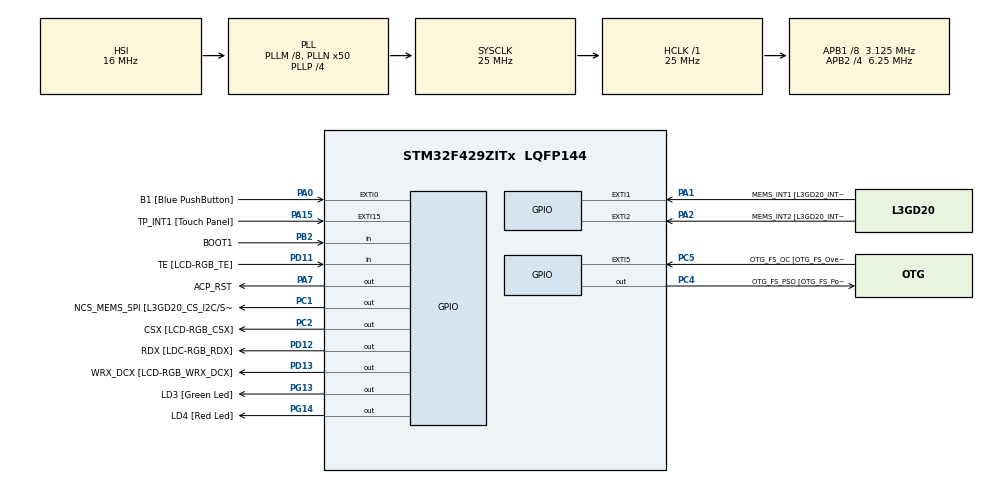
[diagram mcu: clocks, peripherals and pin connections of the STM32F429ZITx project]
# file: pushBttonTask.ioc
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Mcu.Family=STM32F4
Mcu.Name=STM32F429ZITx
Mcu.Package=LQFP144
NVIC.PriorityGroup=NVIC_PRIORITYGROUP_4
NVIC.TIM6_DAC_IRQn=true\:15\:0\:false\:false\:true\:false\:true\:true
NVIC.TimeBase=TIM6_DAC_IRQn
NVIC.TimeBaseIP=TIM6
PA0/WKUP.GPIO_Label=B1 [Blue PushButton]
PA0/WKUP.GPIO_ModeDefaultEXTI=GPIO_MODE_EVT_RISING
PA0/WKUP.GPIO_PuPd=GPIO_NOPULL
PA0/WKUP.Signal=GPXTI0
PA1.GPIO_Label=MEMS_INT1 [L3GD20_INT1]
PA1.GPIO_ModeDefaultEXTI=GPIO_MODE_EVT_RISING
PA1.GPIO_PuPd=GPIO_NOPULL
PA1.Signal=GPXTI1
PA10.GPIO_Label=STLINK_TX [STM32F103CBT6_PA2]
PA10.Signal=USART1_RX
PA11.GPIO_Label=R4
PA11.GPIO_Mode=GPIO_MODE_AF_PP
PA11.GPIO_PuPd=GPIO_NOPULL
PA11.GPIO_Speed=GPIO_SPEED_FREQ_LOW
PA11.Signal=LTDC_R4
PA12.GPIO_Label=R5
PA12.GPIO_Mode=GPIO_MODE_AF_PP
PA12.GPIO_PuPd=GPIO_NOPULL
PA12.GPIO_Speed=GPIO_SPEED_FREQ_LOW
PA12.Signal=LTDC_R5
PA13.GPIO_Label=SWDIO
PA13.Signal=SYS_JTMS-SWDIO
PA14.GPIO_Label=SWCLK
PA14.Signal=SYS_JTCK-SWCLK
PA15.GPIO_Label=TP_INT1 [Touch Panel]
PA15.GPIO_ModeDefaultEXTI=GPIO_MODE_EVT_RISING
PA15.GPIO_PuPd=GPIO_NOPULL
PA15.Signal=GPXTI15
PA2.GPIO_Label=MEMS_INT2 [L3GD20_INT2]
PA2.GPIO_ModeDefaultEXTI=GPIO_MODE_EVT_RISING
PA2.GPIO_PuPd=GPIO_NOPULL
PA2.Signal=GPXTI2
PA3.GPIO_Label=B5
PA3.GPIO_Mode=GPIO_MODE_AF_PP
PA3.GPIO_PuPd=GPIO_NOPULL
PA3.GPIO_Speed=GPIO_SPEED_FREQ_LOW
PA3.Signal=LTDC_B5
PA4.GPIO_Label=VSYNC
PA4.GPIO_Mode=GPIO_MODE_AF_PP
PA4.GPIO_PuPd=GPIO_NOPULL
PA4.GPIO_Speed=GPIO_SPEED_FREQ_LOW
PA4.Signal=LTDC_VSYNC
PA6.GPIO_Label=G2
PA6.GPIO_Mode=GPIO_MODE_AF_PP
PA6.GPIO_PuPd=GPIO_NOPULL
PA6.GPIO_Speed=GPIO_SPEED_FREQ_LOW
PA6.Signal=LTDC_G2
PA7.GPIO_Label=ACP_RST
PA7.GPIO_Mode=GPIO_MODE_OUTPUT_PP
PA7.GPIO_PuPd=GPIO_NOPULL
PA7.GPIO_Speed=GPIO_SPEED_FREQ_LOW
PA7.Signal=GPIO_Output
PA8.GPIO_Label=I2C3_SCL [ACP/RF_SCL]
PA8.GPIO_Mode=GPIO_MODE_AF_OD
PA8.GPIO_PuPd=GPIO_NOPULL
PA8.GPIO_Speed=GPIO_SPEED_FREQ_LOW
PA8.Signal=I2C3_SCL
PA9.GPIO_Label=STLINK_RX [STM32F103CBT6_PA3]
PA9.Signal=USART1_TX
PB0.GPIO_Label=R3
PB0.GPIO_Mode=GPIO_MODE_AF_PP
PB0.GPIO_PuPd=GPIO_NOPULL
PB0.GPIO_Speed=GPIO_SPEED_FREQ_LOW
PB0.Signal=LTDC_R3
PB1.GPIO_Label=R6
PB1.GPIO_Mode=GPIO_MODE_AF_PP
PB1.GPIO_PuPd=GPIO_NOPULL
PB1.GPIO_Speed=GPIO_SPEED_FREQ_LOW
PB1.Signal=LTDC_R6
PB10.GPIO_Label=G4
PB10.GPIO_Mode=GPIO_MODE_AF_PP
PB10.GPIO_PuPd=GPIO_NOPULL
PB10.GPIO_Speed=GPIO_SPEED_FREQ_LOW
PB10.Signal=LTDC_G4
PB11.GPIO_Label=G5
PB11.GPIO_Mode=GPIO_MODE_AF_PP
PB11.GPIO_PuPd=GPIO_NOPULL
PB11.GPIO_Speed=GPIO_SPEED_FREQ_LOW
PB11.Signal=LTDC_G5
PB12.GPIO_Label=OTG_HS_ID
PB12.GPIO_Mode=GPIO_MODE_AF_PP
PB12.GPIO_PuPd=GPIO_NOPULL
PB12.GPIO_Speed=GPIO_SPEED_FREQ_LOW
PB12.Signal=USB_OTG_HS_ID
PB13.GPIO_Label=VBUS_HS
PB13.GPIO_Mode=GPIO_MODE_INPUT
PB13.GPIO_PuPd=GPIO_NOPULL
PB13.Signal=USB_OTG_HS_VBUS
PB14.GPIO_Label=OTG_HS_DM
PB14.GPIO_Mode=GPIO_MODE_AF_PP
PB14.GPIO_PuPd=GPIO_NOPULL
PB14.GPIO_Speed=GPIO_SPEED_FREQ_LOW
PB14.Signal=USB_OTG_HS_DM
PB15.GPIO_Label=OTG_HS_DP
PB15.GPIO_Mode=GPIO_MODE_AF_PP
PB15.GPIO_PuPd=GPIO_NOPULL
PB15.GPIO_Speed=GPIO_SPEED_FREQ_LOW
PB15.Signal=USB_OTG_HS_DP
PB2/BOOT1.GPIO_Label=BOOT1
PB2/BOOT1.GPIO_Mode=GPIO_MODE_INPUT
PB2/BOOT1.GPIO_PuPd=GPIO_NOPULL
PB2/BOOT1.Signal=GPIO_Input
PB5.GPIO_Label=SDCKE1
PB5.GPIO_Mode=GPIO_MODE_AF_PP
PB5.GPIO_PuPd=GPIO_NOPULL
PB5.GPIO_Speed=GPIO_SPEED_FREQ_VERY_HIGH
PB5.Signal=FMC_SDCKE1
PB6.GPIO_Label=SDNE1 [SDRAM_CS]
PB6.GPIO_Mode=GPIO_MODE_AF_PP
PB6.GPIO_PuPd=GPIO_NOPULL
PB6.GPIO_Speed=GPIO_SPEED_FREQ_VERY_HIGH
PB6.Signal=FMC_SDNE1
PB8.GPIO_Label=B6
PB8.GPIO_Mode=GPIO_MODE_AF_PP
PB8.GPIO_PuPd=GPIO_NOPULL
PB8.GPIO_Speed=GPIO_SPEED_FREQ_LOW
PB8.Signal=LTDC_B6
PB9.GPIO_Label=B7
PB9.GPIO_Mode=GPIO_MODE_AF_PP
PB9.GPIO_PuPd=GPIO_NOPULL
PB9.GPIO_Speed=GPIO_SPEED_FREQ_LOW
PB9.Signal=LTDC_B7
PC0.GPIO_Label=SDNWE
PC0.GPIO_Mode=GPIO_MODE_AF_PP
PC0.GPIO_PuPd=GPIO_NOPULL
PC0.GPIO_Speed=GPIO_SPEED_FREQ_VERY_HIGH
PC0.Signal=FMC_SDNWE
PC1.GPIO_Label=NCS_MEMS_SPI [L3GD20_CS_I2C/SPI]
PC1.GPIO_Mode=GPIO_MODE_OUTPUT_PP
PC1.GPIO_PuPd=GPIO_NOPULL
PC1.GPIO_Speed=GPIO_SPEED_FREQ_LOW
PC1.Signal=GPIO_Output
PC10.GPIO_Label=R2
PC10.GPIO_Mode=GPIO_MODE_AF_PP
PC10.GPIO_PuPd=GPIO_NOPULL
PC10.GPIO_Speed=GPIO_SPEED_FREQ_LOW
PC10.Signal=LTDC_R2
PC14/OSC32_IN.GPIO_Label=PC14-OSC32_IN
PC14/OSC32_IN.Signal=RCC_OSC32_IN
PC15/OSC32_OUT.GPIO_Label=PC15-OSC32_OUT
PC15/OSC32_OUT.Signal=RCC_OSC32_OUT
PC2.GPIO_Label=CSX [LCD-RGB_CSX]
PC2.GPIO_Mode=GPIO_MODE_OUTPUT_PP
PC2.GPIO_PuPd=GPIO_NOPULL
PC2.GPIO_Speed=GPIO_SPEED_FREQ_LOW
PC2.Signal=GPIO_Output
PC4.GPIO_Label=OTG_FS_PSO [OTG_FS_PowerSwitchOn]
PC4.GPIO_Mode=GPIO_MODE_OUTPUT_PP
PC4.GPIO_PuPd=GPIO_NOPULL
PC4.GPIO_Speed=GPIO_SPEED_FREQ_LOW
PC4.Signal=GPIO_Output
PC5.GPIO_Label=OTG_FS_OC [OTG_FS_OverCurrent]
PC5.GPIO_ModeDefaultEXTI=GPIO_MODE_EVT_RISING
PC5.Signal=GPXTI5
PC6.GPIO_Label=HSYNC
PC6.GPIO_Mode=GPIO_MODE_AF_PP
PC6.GPIO_PuPd=GPIO_NOPULL
PC6.GPIO_Speed=GPIO_SPEED_FREQ_LOW
PC6.Signal=LTDC_HSYNC
PC7.GPIO_Label=G6
PC7.GPIO_Mode=GPIO_MODE_AF_PP
PC7.GPIO_PuPd=GPIO_NOPULL
PC7.GPIO_Speed=GPIO_SPEED_FREQ_LOW
PC7.Signal=LTDC_G6
PC9.GPIO_Label=I2C3_SDA [ACP/RF_SDA]
PC9.GPIO_Mode=GPIO_MODE_AF_OD
PC9.GPIO_PuPd=GPIO_NOPULL
PC9.GPIO_Speed=GPIO_SPEED_FREQ_LOW
PC9.Signal=I2C3_SDA
PD0.GPIO_Label=D2
PD0.GPIO_Mode=GPIO_MODE_AF_PP
PD0.GPIO_PuPd=GPIO_NOPULL
PD0.GPIO_Speed=GPIO_SPEED_FREQ_VERY_HIGH
PD0.Signal=FMC_D2_DA2
PD1.GPIO_Label=D3
PD1.GPIO_Mode=GPIO_MODE_AF_PP
PD1.GPIO_PuPd=GPIO_NOPULL
PD1.GPIO_Speed=GPIO_SPEED_FREQ_VERY_HIGH
PD1.Signal=FMC_D3_DA3
PD10.GPIO_Label=D15
PD10.GPIO_Mode=GPIO_MODE_AF_PP
PD10.GPIO_PuPd=GPIO_NOPULL
PD10.GPIO_Speed=GPIO_SPEED_FREQ_VERY_HIGH
PD10.Signal=FMC_D15_DA15
PD11.GPIO_Label=TE [LCD-RGB_TE]
PD11.GPIO_Mode=GPIO_MODE_INPUT
PD11.GPIO_PuPd=GPIO_NOPULL
PD11.Signal=GPIO_Input
PD12.GPIO_Label=RDX [LDC-RGB_RDX]
PD12.GPIO_Mode=GPIO_MODE_OUTPUT_PP
PD12.GPIO_PuPd=GPIO_NOPULL
PD12.GPIO_Speed=GPIO_SPEED_FREQ_LOW
PD12.Signal=GPIO_Output
PD13.GPIO_Label=WRX_DCX [LCD-RGB_WRX_DCX]
PD13.GPIO_Mode=GPIO_MODE_OUTPUT_PP
PD13.GPIO_PuPd=GPIO_NOPULL
PD13.GPIO_Speed=GPIO_SPEED_FREQ_LOW
PD13.Signal=GPIO_Output
PD14.GPIO_Label=D0
PD14.GPIO_Mode=GPIO_MODE_AF_PP
PD14.GPIO_PuPd=GPIO_NOPULL
PD14.GPIO_Speed=GPIO_SPEED_FREQ_VERY_HIGH
PD14.Signal=FMC_D0_DA0
PD15.GPIO_Label=D1
PD15.GPIO_Mode=GPIO_MODE_AF_PP
PD15.GPIO_PuPd=GPIO_NOPULL
PD15.GPIO_Speed=GPIO_SPEED_FREQ_VERY_HIGH
PD15.Signal=FMC_D1_DA1
PD3.GPIO_Label=G7
PD3.GPIO_Mode=GPIO_MODE_AF_PP
PD3.GPIO_PuPd=GPIO_NOPULL
PD3.GPIO_Speed=GPIO_SPEED_FREQ_LOW
PD3.Signal=LTDC_G7
PD6.GPIO_Label=B2
PD6.GPIO_Mode=GPIO_MODE_AF_PP
PD6.GPIO_PuPd=GPIO_NOPULL
PD6.GPIO_Speed=GPIO_SPEED_FREQ_LOW
PD6.Signal=LTDC_B2
PD8.GPIO_Label=D13
PD8.GPIO_Mode=GPIO_MODE_AF_PP
PD8.GPIO_PuPd=GPIO_NOPULL
PD8.GPIO_Speed=GPIO_SPEED_FREQ_VERY_HIGH
PD8.Signal=FMC_D13_DA13
PD9.GPIO_Label=D14
PD9.GPIO_Mode=GPIO_MODE_AF_PP
PD9.GPIO_PuPd=GPIO_NOPULL
PD9.GPIO_Speed=GPIO_SPEED_FREQ_VERY_HIGH
PD9.Signal=FMC_D14_DA14
PE0.GPIO_Label=NBL0 [SDRAM_LDQM]
PE0.GPIO_Mode=GPIO_MODE_AF_PP
PE0.GPIO_PuPd=GPIO_NOPULL
PE0.GPIO_Speed=GPIO_SPEED_FREQ_VERY_HIGH
PE0.Signal=FMC_NBL0
PE1.GPIO_Label=NBL1 [SDRAM_UDQM]
PE1.GPIO_Mode=GPIO_MODE_AF_PP
PE1.GPIO_PuPd=GPIO_NOPULL
PE1.GPIO_Speed=GPIO_SPEED_FREQ_VERY_HIGH
PE1.Signal=FMC_NBL1
PE10.GPIO_Label=D7
PE10.GPIO_Mode=GPIO_MODE_AF_PP
PE10.GPIO_PuPd=GPIO_NOPULL
PE10.GPIO_Speed=GPIO_SPEED_FREQ_VERY_HIGH
PE10.Signal=FMC_D7_DA7
PE11.GPIO_Label=D8
PE11.GPIO_Mode=GPIO_MODE_AF_PP
PE11.GPIO_PuPd=GPIO_NOPULL
PE11.GPIO_Speed=GPIO_SPEED_FREQ_VERY_HIGH
PE11.Signal=FMC_D8_DA8
PE12.GPIO_Label=D9
PE12.GPIO_Mode=GPIO_MODE_AF_PP
PE12.GPIO_PuPd=GPIO_NOPULL
PE12.GPIO_Speed=GPIO_SPEED_FREQ_VERY_HIGH
PE12.Signal=FMC_D9_DA9
PE13.GPIO_Label=D10
PE13.GPIO_Mode=GPIO_MODE_AF_PP
PE13.GPIO_PuPd=GPIO_NOPULL
PE13.GPIO_Speed=GPIO_SPEED_FREQ_VERY_HIGH
PE13.Signal=FMC_D10_DA10
PE14.GPIO_Label=D11
PE14.GPIO_Mode=GPIO_MODE_AF_PP
PE14.GPIO_PuPd=GPIO_NOPULL
PE14.GPIO_Speed=GPIO_SPEED_FREQ_VERY_HIGH
PE14.Signal=FMC_D11_DA11
PE15.GPIO_Label=D12
PE15.GPIO_Mode=GPIO_MODE_AF_PP
PE15.GPIO_PuPd=GPIO_NOPULL
PE15.GPIO_Speed=GPIO_SPEED_FREQ_VERY_HIGH
PE15.Signal=FMC_D12_DA12
PE7.GPIO_Label=D4
PE7.GPIO_Mode=GPIO_MODE_AF_PP
PE7.GPIO_PuPd=GPIO_NOPULL
PE7.GPIO_Speed=GPIO_SPEED_FREQ_VERY_HIGH
PE7.Signal=FMC_D4_DA4
PE8.GPIO_Label=D5
PE8.GPIO_Mode=GPIO_MODE_AF_PP
PE8.GPIO_PuPd=GPIO_NOPULL
PE8.GPIO_Speed=GPIO_SPEED_FREQ_VERY_HIGH
PE8.Signal=FMC_D5_DA5
PE9.GPIO_Label=D6
PE9.GPIO_Mode=GPIO_MODE_AF_PP
PE9.GPIO_PuPd=GPIO_NOPULL
PE9.GPIO_Speed=GPIO_SPEED_FREQ_VERY_HIGH
PE9.Signal=FMC_D6_DA6
PF0.GPIO_Label=A0
PF0.GPIO_Mode=GPIO_MODE_AF_PP
PF0.GPIO_PuPd=GPIO_NOPULL
PF0.GPIO_Speed=GPIO_SPEED_FREQ_VERY_HIGH
PF0.Signal=FMC_A0
PF1.GPIO_Label=A1
PF1.GPIO_Mode=GPIO_MODE_AF_PP
PF1.GPIO_PuPd=GPIO_NOPULL
PF1.GPIO_Speed=GPIO_SPEED_FREQ_VERY_HIGH
PF1.Signal=FMC_A1
PF10.GPIO_Label=ENABLE [LCD-RGB_ENABLE]
PF10.GPIO_Mode=GPIO_MODE_AF_PP
PF10.GPIO_PuPd=GPIO_NOPULL
PF10.GPIO_Speed=GPIO_SPEED_FREQ_LOW
PF10.Signal=LTDC_DE
PF11.GPIO_Label=SDNRAS
PF11.GPIO_Mode=GPIO_MODE_AF_PP
PF11.GPIO_PuPd=GPIO_NOPULL
PF11.GPIO_Speed=GPIO_SPEED_FREQ_VERY_HIGH
PF11.Signal=FMC_SDNRAS
PF12.GPIO_Label=A6
PF12.GPIO_Mode=GPIO_MODE_AF_PP
PF12.GPIO_PuPd=GPIO_NOPULL
PF12.GPIO_Speed=GPIO_SPEED_FREQ_VERY_HIGH
PF12.Signal=FMC_A6
PF13.GPIO_Label=A7
PF13.GPIO_Mode=GPIO_MODE_AF_PP
PF13.GPIO_PuPd=GPIO_NOPULL
PF13.GPIO_Speed=GPIO_SPEED_FREQ_VERY_HIGH
PF13.Signal=FMC_A7
PF14.GPIO_Label=A8
PF14.GPIO_Mode=GPIO_MODE_AF_PP
PF14.GPIO_PuPd=GPIO_NOPULL
PF14.GPIO_Speed=GPIO_SPEED_FREQ_VERY_HIGH
PF14.Signal=FMC_A8
PF15.GPIO_Label=A9
PF15.GPIO_Mode=GPIO_MODE_AF_PP
PF15.GPIO_PuPd=GPIO_NOPULL
PF15.GPIO_Speed=GPIO_SPEED_FREQ_VERY_HIGH
PF15.Signal=FMC_A9
PF2.GPIO_Label=A2
PF2.GPIO_Mode=GPIO_MODE_AF_PP
PF2.GPIO_PuPd=GPIO_NOPULL
PF2.GPIO_Speed=GPIO_SPEED_FREQ_VERY_HIGH
PF2.Signal=FMC_A2
PF3.GPIO_Label=A3
PF3.GPIO_Mode=GPIO_MODE_AF_PP
PF3.GPIO_PuPd=GPIO_NOPULL
PF3.GPIO_Speed=GPIO_SPEED_FREQ_VERY_HIGH
PF3.Signal=FMC_A3
PF4.GPIO_Label=A4
PF4.GPIO_Mode=GPIO_MODE_AF_PP
PF4.GPIO_PuPd=GPIO_NOPULL
PF4.GPIO_Speed=GPIO_SPEED_FREQ_VERY_HIGH
PF4.Signal=FMC_A4
PF5.GPIO_Label=A5
PF5.GPIO_Mode=GPIO_MODE_AF_PP
PF5.GPIO_PuPd=GPIO_NOPULL
PF5.GPIO_Speed=GPIO_SPEED_FREQ_VERY_HIGH
PF5.Signal=FMC_A5
PF7.GPIO_Label=SPI5_SCK [L3GD20_SCL/SPC]
PF7.GPIO_Mode=GPIO_MODE_AF_PP
PF7.GPIO_PuPd=GPIO_NOPULL
PF7.GPIO_Speed=GPIO_SPEED_FREQ_LOW
PF7.Signal=SPI5_SCK
PF8.GPIO_Label=SPI5_MISO [L3GD20_SDO]
PF8.GPIO_Mode=GPIO_MODE_AF_PP
PF8.GPIO_PuPd=GPIO_NOPULL
PF8.GPIO_Speed=GPIO_SPEED_FREQ_LOW
PF8.Signal=SPI5_MISO
PF9.GPIO_Label=SPI5_MOSI [L3GD20_SDA/SDI/SDO]
PF9.GPIO_Mode=GPIO_MODE_AF_PP
PF9.GPIO_PuPd=GPIO_NOPULL
PF9.GPIO_Speed=GPIO_SPEED_FREQ_LOW
PF9.Signal=SPI5_MOSI
PG0.GPIO_Label=A10
PG0.GPIO_Mode=GPIO_MODE_AF_PP
PG0.GPIO_PuPd=GPIO_NOPULL
PG0.GPIO_Speed=GPIO_SPEED_FREQ_VERY_HIGH
PG0.Signal=FMC_A10
PG1.GPIO_Label=A11
PG1.GPIO_Mode=GPIO_MODE_AF_PP
PG1.GPIO_PuPd=GPIO_NOPULL
PG1.GPIO_Speed=GPIO_SPEED_FREQ_VERY_HIGH
PG1.Signal=FMC_A11
PG10.GPIO_Label=G3
PG10.GPIO_Mode=GPIO_MODE_AF_PP
PG10.GPIO_PuPd=GPIO_NOPULL
PG10.GPIO_Speed=GPIO_SPEED_FREQ_LOW
PG10.Signal=LTDC_G3
PG11.GPIO_Label=B3
PG11.GPIO_Mode=GPIO_MODE_AF_PP
PG11.GPIO_PuPd=GPIO_NOPULL
PG11.GPIO_Speed=GPIO_SPEED_FREQ_LOW
PG11.Signal=LTDC_B3
PG12.GPIO_Label=B4
PG12.GPIO_Mode=GPIO_MODE_AF_PP
PG12.GPIO_PuPd=GPIO_NOPULL
PG12.GPIO_Speed=GPIO_SPEED_FREQ_LOW
PG12.Signal=LTDC_B4
PG13.GPIO_Label=LD3 [Green Led]
PG13.GPIO_Mode=GPIO_MODE_OUTPUT_PP
PG13.GPIO_PuPd=GPIO_NOPULL
PG13.GPIO_Speed=GPIO_SPEED_FREQ_LOW
PG13.Signal=GPIO_Output
PG14.GPIO_Label=LD4 [Red Led]
PG14.GPIO_Mode=GPIO_MODE_OUTPUT_PP
PG14.GPIO_PuPd=GPIO_NOPULL
PG14.GPIO_Speed=GPIO_SPEED_FREQ_LOW
PG14.Signal=GPIO_Output
PG15.GPIO_Label=SDNCAS
PG15.GPIO_Mode=GPIO_MODE_AF_PP
PG15.GPIO_PuPd=GPIO_NOPULL
PG15.GPIO_Speed=GPIO_SPEED_FREQ_VERY_HIGH
PG15.Signal=FMC_SDNCAS
PG4.GPIO_Label=BA0
PG4.GPIO_Mode=GPIO_MODE_AF_PP
PG4.GPIO_PuPd=GPIO_NOPULL
PG4.GPIO_Speed=GPIO_SPEED_FREQ_VERY_HIGH
PG4.Signal=FMC_A14_BA0
PG5.GPIO_Label=BA1
PG5.GPIO_Mode=GPIO_MODE_AF_PP
PG5.GPIO_PuPd=GPIO_NOPULL
PG5.GPIO_Speed=GPIO_SPEED_FREQ_VERY_HIGH
PG5.Signal=FMC_A15_BA1
PG6.GPIO_Label=R7
PG6.GPIO_Mode=GPIO_MODE_AF_PP
PG6.GPIO_PuPd=GPIO_NOPULL
PG6.GPIO_Speed=GPIO_SPEED_FREQ_LOW
PG6.Signal=LTDC_R7
PG7.GPIO_Label=DOTCLK [LCT-RGB_DOTCLK]
PG7.GPIO_Mode=GPIO_MODE_AF_PP
PG7.GPIO_PuPd=GPIO_NOPULL
PG7.GPIO_Speed=GPIO_SPEED_FREQ_LOW
PG7.Signal=LTDC_CLK
PG8.GPIO_Label=SDCLK
PG8.GPIO_Mode=GPIO_MODE_AF_PP
PG8.GPIO_PuPd=GPIO_NOPULL
PG8.GPIO_Speed=GPIO_SPEED_FREQ_VERY_HIGH
PG8.Signal=FMC_SDCLK
PH0/OSC_IN.GPIO_Label=PH0-OSC_IN
PH0/OSC_IN.Signal=RCC_OSC_IN
PH1/OSC_OUT.GPIO_Label=PH1-OSC_OUT
PH1/OSC_OUT.Signal=RCC_OSC_OUT
ProjectManager.HeapSize=0x200
ProjectManager.StackSize=0x400
ProjectManager.TargetToolchain=STM32CubeIDE
RCC.48MHZClocksFreq_Value=14285714.285714285
RCC.AHBFreq_Value=25000000
RCC.APB1CLKDivider=RCC_HCLK_DIV8
RCC.APB1Freq_Value=3125000
RCC.APB1TimFreq_Value=6250000
RCC.APB2CLKDivider=RCC_HCLK_DIV4
RCC.APB2Freq_Value=6250000
RCC.APB2TimFreq_Value=12500000
RCC.CortexFreq_Value=25000000
RCC.HCLKFreq_Value=25000000
RCC.HSE_VALUE=8000000
RCC.HSI_VALUE=16000000
RCC.LSE_VALUE=32768
RCC.PLLM=8
RCC.PLLN=50
RCC.PLLP=RCC_PLLP_DIV4
RCC.PLLQ=7
RCC.SYSCLKFreq_VALUE=25000000
RCC.SYSCLKSource=RCC_SYSCLKSOURCE_PLLCLK
RCC.VCOOutputFreq_Value=100000000
SH.FMC_A0.0=FMC_A0
SH.FMC_A1.0=FMC_A1
SH.FMC_A10.0=FMC_A10
SH.FMC_A11.0=FMC_A11
SH.FMC_A14_BA0.0=FMC_BA0
SH.FMC_A15_BA1.0=FMC_BA1
SH.FMC_A2.0=FMC_A2
SH.FMC_A3.0=FMC_A3
SH.FMC_A4.0=FMC_A4
SH.FMC_A5.0=FMC_A5
SH.FMC_A6.0=FMC_A6
SH.FMC_A7.0=FMC_A7
SH.FMC_A8.0=FMC_A8
SH.FMC_A9.0=FMC_A9
SH.FMC_D0_DA0.0=FMC_D0
SH.FMC_D10_DA10.0=FMC_D10
SH.FMC_D11_DA11.0=FMC_D11
SH.FMC_D12_DA12.0=FMC_D12
SH.FMC_D13_DA13.0=FMC_D13
SH.FMC_D14_DA14.0=FMC_D14
SH.FMC_D15_DA15.0=FMC_D15
SH.FMC_D1_DA1.0=FMC_D1
SH.FMC_D2_DA2.0=FMC_D2
SH.FMC_D3_DA3.0=FMC_D3
SH.FMC_D4_DA4.0=FMC_D4
SH.FMC_D5_DA5.0=FMC_D5
SH.FMC_D6_DA6.0=FMC_D6
SH.FMC_D7_DA7.0=FMC_D7
SH.FMC_D8_DA8.0=FMC_D8
SH.FMC_D9_DA9.0=FMC_D9
SH.FMC_NBL0.0=FMC_NBL0
SH.FMC_NBL1.0=FMC_NBL1
SH.FMC_SDCLK.0=FMC_SDCLK
SH.FMC_SDNCAS.0=FMC_SDNCAS
SH.FMC_SDNRAS.0=FMC_SDNRAS
SH.FMC_SDNWE.0=FMC_SDNWE
VP_SYS_VS_tim6.Mode=TIM6
board=STM32F429I-DISC1

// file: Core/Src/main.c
/* USER CODE BEGIN Header */
/**
  ******************************************************************************
  * @file           : main.c
  * @brief          : Main program body
  ******************************************************************************
  * @attention
  *
  * Copyright (c) 2022 STMicroelectronics.
  * All rights reserved.
  *
  * This software is licensed under terms that can be found in the LICENSE file
  * in the root directory of this software component.
  * If no LICENSE file comes with this software, it is provided AS-IS.
  *
  ******************************************************************************
  */
/* USER CODE END Header */
#include "main.h"

/* USER CODE BEGIN Includes */

#include "FreeRTOS.h"
#include "task.h"
#include <SEGGER_SYSVIEW.h>

/* USER CODE END Includes */

/* USER CODE BEGIN PV */

#define DWT_CTRL (*(volatile uint32_t*)0xE0001000)

/* USER CODE END PV */

void SystemClock_Config(void);
static void MX_GPIO_Init(void);
/* USER CODE BEGIN PFP */

static void ledGreenHandler(void* parameters);
static void ledRedHandler(void* parameters);
static void button_handler(void* parameters);

/* USER CODE END PFP */

/* USER CODE BEGIN 0 */
 TaskHandle_t led_Green_handle;
 TaskHandle_t led_Red_Handle;
 TaskHandle_t button_Handle;

TaskHandle_t volatile next_task_handle = NULL;

/* USER CODE END 0 */

int main(void)
{
  /* USER CODE BEGIN 1 */

    BaseType_t status;

  /* USER CODE END 1 */

  /* MCU Configuration--------------------------------------------------------*/

  /* Reset of all peripherals, Initializes the Flash interface and the Systick. */
  HAL_Init();

  /* Configure the system clock */
  SystemClock_Config();

  /* Initialize all configured peripherals */
  MX_GPIO_Init();
  /* USER CODE BEGIN 2 */

  DWT_CTRL |= (1 << 0);

  SEGGER_SYSVIEW_Conf();
  //SEGGER_SYSVIEW_Start();

  status = xTaskCreate(ledGreenHandler,"Led_Green_Task", 200, NULL, 2, &led_Green_handle);
  configASSERT(status == pdPASS);

  next_task_handle = led_Green_handle;

  status = xTaskCreate(ledRedHandler, "Led_Red_Task", 200, NULL, 1, &led_Red_Handle);
  configASSERT(status == pdPASS);

  status = xTaskCreate(button_handler,"Button_Task", 200, NULL, 3, &button_Handle);
  configASSERT(status == pdPASS);

  vTaskStartScheduler();

  //status = xTaskCreate(ledOrangeHandler, "Led_Orange_Handler", 200, NULL, 2, &task2_Handle);
 // configASSERT(status == pdPASS);

  /* WE START THE SCHEDULER HERE*/

  /* USER CODE END 2 */

  /* Infinite loop */
  while (1)
  {

  }
}

void SystemClock_Config(void)
{
  RCC_OscInitTypeDef RCC_OscInitStruct = {0};
  RCC_ClkInitTypeDef RCC_ClkInitStruct = {0};

  /** Configure the main internal regulator output voltage
  */
  __HAL_RCC_PWR_CLK_ENABLE();
  __HAL_PWR_VOLTAGESCALING_CONFIG(PWR_REGULATOR_VOLTAGE_SCALE3);

  /** Initializes the RCC Oscillators according to the specified parameters
  * in the RCC_OscInitTypeDef structure.
  */
  RCC_OscInitStruct.OscillatorType = RCC_OSCILLATORTYPE_HSI;
  RCC_OscInitStruct.HSIState = RCC_HSI_ON;
  RCC_OscInitStruct.HSICalibrationValue = RCC_HSICALIBRATION_DEFAULT;
  RCC_OscInitStruct.PLL.PLLState = RCC_PLL_ON;
  RCC_OscInitStruct.PLL.PLLSource = RCC_PLLSOURCE_HSI;
  RCC_OscInitStruct.PLL.PLLM = 8;
  RCC_OscInitStruct.PLL.PLLN = 50;
  RCC_OscInitStruct.PLL.PLLP = RCC_PLLP_DIV4;
  RCC_OscInitStruct.PLL.PLLQ = 7;
  if (HAL_RCC_OscConfig(&RCC_OscInitStruct) != HAL_OK)
  {
    Error_Handler();
  }

  /** Initializes the CPU, AHB and APB buses clocks
  */
  RCC_ClkInitStruct.ClockType = RCC_CLOCKTYPE_HCLK|RCC_CLOCKTYPE_SYSCLK
                              |RCC_CLOCKTYPE_PCLK1|RCC_CLOCKTYPE_PCLK2;
  RCC_ClkInitStruct.SYSCLKSource = RCC_SYSCLKSOURCE_PLLCLK;
  RCC_ClkInitStruct.AHBCLKDivider = RCC_SYSCLK_DIV1;
  RCC_ClkInitStruct.APB1CLKDivider = RCC_HCLK_DIV8;
  RCC_ClkInitStruct.APB2CLKDivider = RCC_HCLK_DIV4;

  if (HAL_RCC_ClockConfig(&RCC_ClkInitStruct, FLASH_LATENCY_0) != HAL_OK)
  {
    Error_Handler();
  }
}

static void MX_GPIO_Init(void)
{
  GPIO_InitTypeDef GPIO_InitStruct = {0};

  /* GPIO Ports Clock Enable */
  __HAL_RCC_GPIOC_CLK_ENABLE();
  __HAL_RCC_GPIOF_CLK_ENABLE();
  __HAL_RCC_GPIOH_CLK_ENABLE();
  __HAL_RCC_GPIOA_CLK_ENABLE();
  __HAL_RCC_GPIOB_CLK_ENABLE();
  __HAL_RCC_GPIOG_CLK_ENABLE();
  __HAL_RCC_GPIOE_CLK_ENABLE();
  __HAL_RCC_GPIOD_CLK_ENABLE();

  /*Configure GPIO pin Output Level */
  HAL_GPIO_WritePin(GPIOC, NCS_MEMS_SPI_Pin|CSX_Pin|OTG_FS_PSO_Pin, GPIO_PIN_RESET);

  /*Configure GPIO pin Output Level */
  HAL_GPIO_WritePin(ACP_RST_GPIO_Port, ACP_RST_Pin, GPIO_PIN_RESET);

  /*Configure GPIO pin Output Level */
  HAL_GPIO_WritePin(GPIOD, RDX_Pin|WRX_DCX_Pin, GPIO_PIN_RESET);

  /*Configure GPIO pin Output Level */
  HAL_GPIO_WritePin(GPIOG, LD3_Pin|LD4_Pin, GPIO_PIN_RESET);

  /*Configure GPIO pins : A0_Pin A1_Pin A2_Pin A3_Pin
                           A4_Pin A5_Pin SDNRAS_Pin A6_Pin
                           A7_Pin A8_Pin A9_Pin */
  GPIO_InitStruct.Pin = A0_Pin|A1_Pin|A2_Pin|A3_Pin
                          |A4_Pin|A5_Pin|SDNRAS_Pin|A6_Pin
                          |A7_Pin|A8_Pin|A9_Pin;
  GPIO_InitStruct.Mode = GPIO_MODE_AF_PP;
  GPIO_InitStruct.Pull = GPIO_NOPULL;
  GPIO_InitStruct.Speed = GPIO_SPEED_FREQ_VERY_HIGH;
  GPIO_InitStruct.Alternate = GPIO_AF12_FMC;
  HAL_GPIO_Init(GPIOF, &GPIO_InitStruct);

  /*Configure GPIO pins : SPI5_SCK_Pin SPI5_MISO_Pin SPI5_MOSI_Pin */
  GPIO_InitStruct.Pin = SPI5_SCK_Pin|SPI5_MISO_Pin|SPI5_MOSI_Pin;
  GPIO_InitStruct.Mode = GPIO_MODE_AF_PP;
  GPIO_InitStruct.Pull = GPIO_NOPULL;
  GPIO_InitStruct.Speed = GPIO_SPEED_FREQ_LOW;
  GPIO_InitStruct.Alternate = GPIO_AF5_SPI5;
  HAL_GPIO_Init(GPIOF, &GPIO_InitStruct);

  /*Configure GPIO pin : ENABLE_Pin */
  GPIO_InitStruct.Pin = ENABLE_Pin;
  GPIO_InitStruct.Mode = GPIO_MODE_AF_PP;
  GPIO_InitStruct.Pull = GPIO_NOPULL;
  GPIO_InitStruct.Speed = GPIO_SPEED_FREQ_LOW;
  GPIO_InitStruct.Alternate = GPIO_AF14_LTDC;
  HAL_GPIO_Init(ENABLE_GPIO_Port, &GPIO_InitStruct);

  /*Configure GPIO pin : SDNWE_Pin */
  GPIO_InitStruct.Pin = SDNWE_Pin;
  GPIO_InitStruct.Mode = GPIO_MODE_AF_PP;
  GPIO_InitStruct.Pull = GPIO_NOPULL;
  GPIO_InitStruct.Speed = GPIO_SPEED_FREQ_VERY_HIGH;
  GPIO_InitStruct.Alternate = GPIO_AF12_FMC;
  HAL_GPIO_Init(SDNWE_GPIO_Port, &GPIO_InitStruct);

  /*Configure GPIO pins : NCS_MEMS_SPI_Pin CSX_Pin OTG_FS_PSO_Pin */
  GPIO_InitStruct.Pin = NCS_MEMS_SPI_Pin|CSX_Pin|OTG_FS_PSO_Pin;
  GPIO_InitStruct.Mode = GPIO_MODE_OUTPUT_PP;
  GPIO_InitStruct.Pull = GPIO_NOPULL;
  GPIO_InitStruct.Speed = GPIO_SPEED_FREQ_LOW;
  HAL_GPIO_Init(GPIOC, &GPIO_InitStruct);

  /*Configure GPIO pins : B1_Pin MEMS_INT1_Pin MEMS_INT2_Pin TP_INT1_Pin */
  GPIO_InitStruct.Pin = B1_Pin|MEMS_INT1_Pin|MEMS_INT2_Pin|TP_INT1_Pin;
  GPIO_InitStruct.Mode = GPIO_MODE_EVT_RISING;
  GPIO_InitStruct.Pull = GPIO_NOPULL;
  HAL_GPIO_Init(GPIOA, &GPIO_InitStruct);

  /*Configure GPIO pins : B5_Pin VSYNC_Pin G2_Pin R4_Pin
                           R5_Pin */
  GPIO_InitStruct.Pin = B5_Pin|VSYNC_Pin|G2_Pin|R4_Pin
                          |R5_Pin;
  GPIO_InitStruct.Mode = GPIO_MODE_AF_PP;
  GPIO_InitStruct.Pull = GPIO_NOPULL;
  GPIO_InitStruct.Speed = GPIO_SPEED_FREQ_LOW;
  GPIO_InitStruct.Alternate = GPIO_AF14_LTDC;
  HAL_GPIO_Init(GPIOA, &GPIO_InitStruct);

  /*Configure GPIO pin : ACP_RST_Pin */
  GPIO_InitStruct.Pin = ACP_RST_Pin;
  GPIO_InitStruct.Mode = GPIO_MODE_OUTPUT_PP;
  GPIO_InitStruct.Pull = GPIO_NOPULL;
  GPIO_InitStruct.Speed = GPIO_SPEED_FREQ_LOW;
  HAL_GPIO_Init(ACP_RST_GPIO_Port, &GPIO_InitStruct);

  /*Configure GPIO pin : OTG_FS_OC_Pin */
  GPIO_InitStruct.Pin = OTG_FS_OC_Pin;
  GPIO_InitStruct.Mode = GPIO_MODE_EVT_RISING;
  GPIO_InitStruct.Pull = GPIO_NOPULL;
  HAL_GPIO_Init(OTG_FS_OC_GPIO_Port, &GPIO_InitStruct);

  /*Configure GPIO pins : R3_Pin R6_Pin */
  GPIO_InitStruct.Pin = R3_Pin|R6_Pin;
  GPIO_InitStruct.Mode = GPIO_MODE_AF_PP;
  GPIO_InitStruct.Pull = GPIO_NOPULL;
  GPIO_InitStruct.Speed = GPIO_SPEED_FREQ_LOW;
  GPIO_InitStruct.Alternate = GPIO_AF9_LTDC;
  HAL_GPIO_Init(GPIOB, &GPIO_InitStruct);

  /*Configure GPIO pin : BOOT1_Pin */
  GPIO_InitStruct.Pin = BOOT1_Pin;
  GPIO_InitStruct.Mode = GPIO_MODE_INPUT;
  GPIO_InitStruct.Pull = GPIO_NOPULL;
  HAL_GPIO_Init(BOOT1_GPIO_Port, &GPIO_InitStruct);

  /*Configure GPIO pins : A10_Pin A11_Pin BA0_Pin BA1_Pin
                           SDCLK_Pin SDNCAS_Pin */
  GPIO_InitStruct.Pin = A10_Pin|A11_Pin|BA0_Pin|BA1_Pin
                          |SDCLK_Pin|SDNCAS_Pin;
  GPIO_InitStruct.Mode = GPIO_MODE_AF_PP;
  GPIO_InitStruct.Pull = GPIO_NOPULL;
  GPIO_InitStruct.Speed = GPIO_SPEED_FREQ_VERY_HIGH;
  GPIO_InitStruct.Alternate = GPIO_AF12_FMC;
  HAL_GPIO_Init(GPIOG, &GPIO_InitStruct);

  /*Configure GPIO pins : D4_Pin D5_Pin D6_Pin D7_Pin
                           D8_Pin D9_Pin D10_Pin D11_Pin
                           D12_Pin NBL0_Pin NBL1_Pin */
  GPIO_InitStruct.Pin = D4_Pin|D5_Pin|D6_Pin|D7_Pin
                          |D8_Pin|D9_Pin|D10_Pin|D11_Pin
                          |D12_Pin|NBL0_Pin|NBL1_Pin;
  GPIO_InitStruct.Mode = GPIO_MODE_AF_PP;
  GPIO_InitStruct.Pull = GPIO_NOPULL;
  GPIO_InitStruct.Speed = GPIO_SPEED_FREQ_VERY_HIGH;
  GPIO_InitStruct.Alternate = GPIO_AF12_FMC;
  HAL_GPIO_Init(GPIOE, &GPIO_InitStruct);

  /*Configure GPIO pins : G4_Pin G5_Pin B6_Pin B7_Pin */
  GPIO_InitStruct.Pin = G4_Pin|G5_Pin|B6_Pin|B7_Pin;
  GPIO_InitStruct.Mode = GPIO_MODE_AF_PP;
  GPIO_InitStruct.Pull = GPIO_NOPULL;
  GPIO_InitStruct.Speed = GPIO_SPEED_FREQ_LOW;
  GPIO_InitStruct.Alternate = GPIO_AF14_LTDC;
  HAL_GPIO_Init(GPIOB, &GPIO_InitStruct);

  /*Configure GPIO pins : OTG_HS_ID_Pin OTG_HS_DM_Pin OTG_HS_DP_Pin */
  GPIO_InitStruct.Pin = OTG_HS_ID_Pin|OTG_HS_DM_Pin|OTG_HS_DP_Pin;
  GPIO_InitStruct.Mode = GPIO_MODE_AF_PP;
  GPIO_InitStruct.Pull = GPIO_NOPULL;
  GPIO_InitStruct.Speed = GPIO_SPEED_FREQ_LOW;
  GPIO_InitStruct.Alternate = GPIO_AF12_OTG_HS_FS;
  HAL_GPIO_Init(GPIOB, &GPIO_InitStruct);

  /*Configure GPIO pin : VBUS_HS_Pin */
  GPIO_InitStruct.Pin = VBUS_HS_Pin;
  GPIO_InitStruct.Mode = GPIO_MODE_INPUT;
  GPIO_InitStruct.Pull = GPIO_NOPULL;
  HAL_GPIO_Init(VBUS_HS_GPIO_Port, &GPIO_InitStruct);

  /*Configure GPIO pins : D13_Pin D14_Pin D15_Pin D0_Pin
                           D1_Pin D2_Pin D3_Pin */
  GPIO_InitStruct.Pin = D13_Pin|D14_Pin|D15_Pin|D0_Pin
                          |D1_Pin|D2_Pin|D3_Pin;
  GPIO_InitStruct.Mode = GPIO_MODE_AF_PP;
  GPIO_InitStruct.Pull = GPIO_NOPULL;
  GPIO_InitStruct.Speed = GPIO_SPEED_FREQ_VERY_HIGH;
  GPIO_InitStruct.Alternate = GPIO_AF12_FMC;
  HAL_GPIO_Init(GPIOD, &GPIO_InitStruct);

  /*Configure GPIO pin : TE_Pin */
  GPIO_InitStruct.Pin = TE_Pin;
  GPIO_InitStruct.Mode = GPIO_MODE_INPUT;
  GPIO_InitStruct.Pull = GPIO_NOPULL;
  HAL_GPIO_Init(TE_GPIO_Port, &GPIO_InitStruct);

  /*Configure GPIO pins : RDX_Pin WRX_DCX_Pin */
  GPIO_InitStruct.Pin = RDX_Pin|WRX_DCX_Pin;
  GPIO_InitStruct.Mode = GPIO_MODE_OUTPUT_PP;
  GPIO_InitStruct.Pull = GPIO_NOPULL;
  GPIO_InitStruct.Speed = GPIO_SPEED_FREQ_LOW;
  HAL_GPIO_Init(GPIOD, &GPIO_InitStruct);

  /*Configure GPIO pins : R7_Pin DOTCLK_Pin B3_Pin */
  GPIO_InitStruct.Pin = R7_Pin|DOTCLK_Pin|B3_Pin;
  GPIO_InitStruct.Mode = GPIO_MODE_AF_PP;
  GPIO_InitStruct.Pull = GPIO_NOPULL;
  GPIO_InitStruct.Speed = GPIO_SPEED_FREQ_LOW;
  GPIO_InitStruct.Alternate = GPIO_AF14_LTDC;
  HAL_GPIO_Init(GPIOG, &GPIO_InitStruct);

  /*Configure GPIO pins : HSYNC_Pin G6_Pin R2_Pin */
  GPIO_InitStruct.Pin = HSYNC_Pin|G6_Pin|R2_Pin;
  GPIO_InitStruct.Mode = GPIO_MODE_AF_PP;
  GPIO_InitStruct.Pull = GPIO_NOPULL;
  GPIO_InitStruct.Speed = GPIO_SPEED_FREQ_LOW;
  GPIO_InitStruct.Alternate = GPIO_AF14_LTDC;
  HAL_GPIO_Init(GPIOC, &GPIO_InitStruct);

  /*Configure GPIO pin : I2C3_SDA_Pin */
  GPIO_InitStruct.Pin = I2C3_SDA_Pin;
  GPIO_InitStruct.Mode = GPIO_MODE_AF_OD;
  GPIO_InitStruct.Pull = GPIO_NOPULL;
  GPIO_InitStruct.Speed = GPIO_SPEED_FREQ_LOW;
  GPIO_InitStruct.Alternate = GPIO_AF4_I2C3;
  HAL_GPIO_Init(I2C3_SDA_GPIO_Port, &GPIO_InitStruct);

  /*Configure GPIO pin : I2C3_SCL_Pin */
  GPIO_InitStruct.Pin = I2C3_SCL_Pin;
  GPIO_InitStruct.Mode = GPIO_MODE_AF_OD;
  GPIO_InitStruct.Pull = GPIO_NOPULL;
  GPIO_InitStruct.Speed = GPIO_SPEED_FREQ_LOW;
  GPIO_InitStruct.Alternate = GPIO_AF4_I2C3;
  HAL_GPIO_Init(I2C3_SCL_GPIO_Port, &GPIO_InitStruct);

  /*Configure GPIO pins : STLINK_RX_Pin STLINK_TX_Pin */
  GPIO_InitStruct.Pin = STLINK_RX_Pin|STLINK_TX_Pin;
  GPIO_InitStruct.Mode = GPIO_MODE_AF_PP;
  GPIO_InitStruct.Pull = GPIO_NOPULL;
  GPIO_InitStruct.Speed = GPIO_SPEED_FREQ_VERY_HIGH;
  GPIO_InitStruct.Alternate = GPIO_AF7_USART1;
  HAL_GPIO_Init(GPIOA, &GPIO_InitStruct);

  /*Configure GPIO pins : G7_Pin B2_Pin */
  GPIO_InitStruct.Pin = G7_Pin|B2_Pin;
  GPIO_InitStruct.Mode = GPIO_MODE_AF_PP;
  GPIO_InitStruct.Pull = GPIO_NOPULL;
  GPIO_InitStruct.Speed = GPIO_SPEED_FREQ_LOW;
  GPIO_InitStruct.Alternate = GPIO_AF14_LTDC;
  HAL_GPIO_Init(GPIOD, &GPIO_InitStruct);

  /*Configure GPIO pins : G3_Pin B4_Pin */
  GPIO_InitStruct.Pin = G3_Pin|B4_Pin;
  GPIO_InitStruct.Mode = GPIO_MODE_AF_PP;
  GPIO_InitStruct.Pull = GPIO_NOPULL;
  GPIO_InitStruct.Speed = GPIO_SPEED_FREQ_LOW;
  GPIO_InitStruct.Alternate = GPIO_AF9_LTDC;
  HAL_GPIO_Init(GPIOG, &GPIO_InitStruct);

  /*Configure GPIO pins : LD3_Pin LD4_Pin */
  GPIO_InitStruct.Pin = LD3_Pin|LD4_Pin;
  GPIO_InitStruct.Mode = GPIO_MODE_OUTPUT_PP;
  GPIO_InitStruct.Pull = GPIO_NOPULL;
  GPIO_InitStruct.Speed = GPIO_SPEED_FREQ_LOW;
  HAL_GPIO_Init(GPIOG, &GPIO_InitStruct);

  /*Configure GPIO pins : SDCKE1_Pin SDNE1_Pin */
  GPIO_InitStruct.Pin = SDCKE1_Pin|SDNE1_Pin;
  GPIO_InitStruct.Mode = GPIO_MODE_AF_PP;
  GPIO_InitStruct.Pull = GPIO_NOPULL;
  GPIO_InitStruct.Speed = GPIO_SPEED_FREQ_VERY_HIGH;
  GPIO_InitStruct.Alternate = GPIO_AF12_FMC;
  HAL_GPIO_Init(GPIOB, &GPIO_InitStruct);

}

/* USER CODE BEGIN 4 */

static void ledGreenHandler(void* parameters){
	BaseType_t  status;

	while(1)
		{

		SEGGER_SYSVIEW_PrintfTarget("Toggling for Green Led");
		HAL_GPIO_TogglePin(GPIOG, ledGreen);
		status = xTaskNotifyWait(0,0,NULL,pdMS_TO_TICKS(800));

		if(status == pdTRUE)
		{
			vTaskSuspendAll();
			next_task_handle = led_Red_Handle;
			xTaskResumeAll();
			HAL_GPIO_WritePin(GPIOG, ledGreen,GPIO_PIN_SET); // TURN ON THE LED BEFORE DELETING
			SEGGER_SYSVIEW_PrintfTarget("Delete GREEN LED task");
			vTaskDelete(NULL); // WE USE NULL SINCE THE TASK IS DELETING ITSELF

		}

	}

}

static void ledRedHandler(void* parameters){

	BaseType_t status;
	while(1)
		{

		SEGGER_SYSVIEW_PrintfTarget("Toggling Red Led");
		HAL_GPIO_TogglePin(GPIOG, ledRed);
		status = xTaskNotifyWait(0,0,NULL,pdMS_TO_TICKS(1000));

		if(status == pdTRUE)
		{
			vTaskSuspendAll();
			next_task_handle = NULL;
			xTaskResumeAll();
			HAL_GPIO_WritePin(GPIOG, ledRed,GPIO_PIN_SET); // TURN ON THE LED BEFORE DELETING
			SEGGER_SYSVIEW_PrintfTarget("Delete RED LED task");
			vTaskDelete(button_Handle);
			vTaskDelete(NULL); // WE USE NULL SINCE THE TASK IS DELETING ITSELF

		}

	}

}

static void button_handler(void* parameters)
{
	uint8_t btn_read = 0;
	uint8_t prev_read = 0;

	while(1){

		btn_read = HAL_GPIO_ReadPin(GPIOA, GPIO_PIN_0);

		if(btn_read == pdTRUE)
		{
			if(! prev_read)
				xTaskNotify(next_task_handle,0,eNoAction);
		}
		prev_read = btn_read;
		vTaskDelay(pdMS_TO_TICKS(10));

	}

}

/* USER CODE END 4 */

void HAL_TIM_PeriodElapsedCallback(TIM_HandleTypeDef *htim)
{
  if (htim->Instance == TIM6) {
    HAL_IncTick();
  }
}

void Error_Handler(void)
{
  __disable_irq();
  while (1)
  {
  }
}
